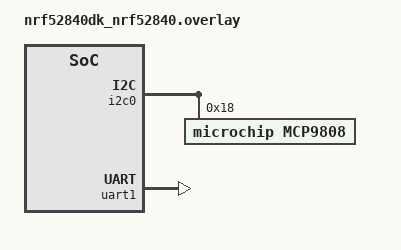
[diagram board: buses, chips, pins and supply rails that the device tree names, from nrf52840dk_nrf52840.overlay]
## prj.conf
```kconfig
CONFIG_UART_ASYNC_API=y
CONFIG_UART_1_ASYNC=y
CONFIG_I2C=y
CONFIG_MCP9808=y
CONFIG_CBPRINTF_FP_SUPPORT=y
CONFIG_SENSOR=y
CONFIG_SMF=y
CONFIG_OPENTHREAD_NORDIC_LIBRARY_FTD=y
CONFIG_NET_L2_OPENTHREAD=y
CONFIG_NETWORKING=y
CONFIG_OPENTHREAD_MANUAL_START=n
CONFIG_OPENTHREAD_NETWORK_NAME="WSN15"
CONFIG_OPENTHREAD_PANID=10000
CONFIG_OPENTHREAD_XPANID="fb:02:00:00:ab:cd:00:45"
CONFIG_OPENTHREAD_NETWORKKEY="00:11:22:33:44:55:66:77:88:99:aa:bb:cc:dd:ee:ff"
CONFIG_SHELL=y
CONFIG_OPENTHREAD_SHELL=y
CONFIG_SHELL_ARGC_MAX=26
CONFIG_SHELL_CMD_BUFF_SIZE=416
CONFIG_MBEDTLS_SHA1_C=n
CONFIG_FPU=y
CONFIG_GPIO=y
```

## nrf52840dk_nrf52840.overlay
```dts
&i2c0 {
    mcp9808@18 {
        compatible = "microchip,mcp9808";
        reg = <0x18>;
    };
};

&uart1 {
    status = "okay";
};

/{
    chosen {
        zephyr,entropy = &rng;
    };
};
```

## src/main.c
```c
#include <zephyr/kernel.h>
#include <zephyr/sys/printk.h>
#include <zephyr/net/openthread.h>
#include <openthread/thread.h>
#include <openthread/udp.h>
#define SLEEP_TIME_MS 1000

void udpReceiveCb(void *aContext, otMessage *aMessage,
                  const otMessageInfo *aMessageInfo)
{
    uint16_t payloadLength = otMessageGetLength(aMessage) - otMessageGetOffset(aMessage);
    char buf[payloadLength + 1];
    otMessageRead(aMessage, otMessageGetOffset(aMessage), buf, payloadLength);
    buf[payloadLength] = '\0';
    printk("%s\n", buf);
}
static void udp_init(void)
{
    otError error = OT_ERROR_NONE;
    otInstance *myInstance = openthread_get_default_instance();
    otUdpSocket mySocket;
    otSockAddr mySockAddr;
    memset(&mySockAddr, 0, sizeof(mySockAddr));
    mySockAddr.mPort = 1235;
    do
    {
        error = otUdpOpen(myInstance, &mySocket, udpReceiveCb, NULL);
        if (error != OT_ERROR_NONE)
        {
            break;
        }
        error = otUdpBind(myInstance, &mySocket, &mySockAddr, OT_NETIF_THREAD);
    } while (false);
    if (error != OT_ERROR_NONE)
    {
        printk("init_udp error: %d\n", error);
    }
}

int main(void)
{
    udp_init();
    while (1)
    {
        k_msleep(SLEEP_TIME_MS);
    }
}
```
